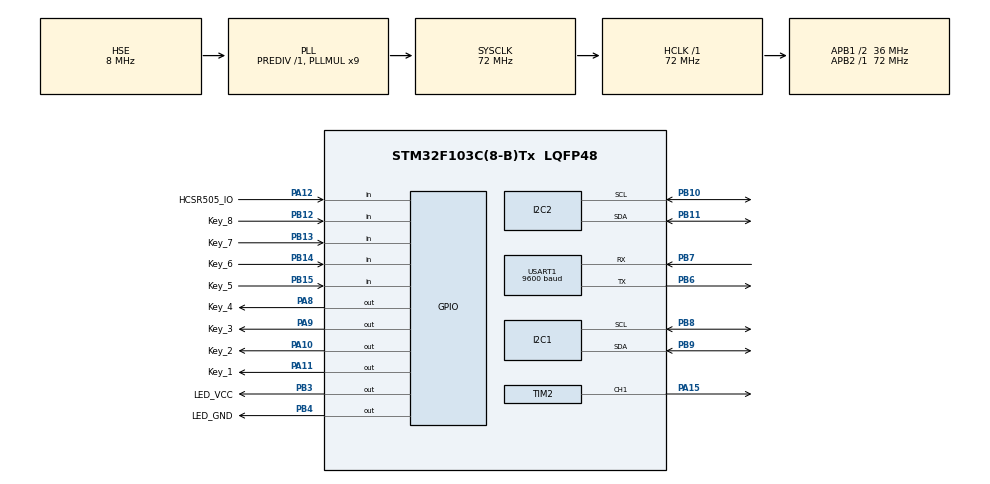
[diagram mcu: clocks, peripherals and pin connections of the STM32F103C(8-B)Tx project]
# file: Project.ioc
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Dma.Request0=USART1_RX
Dma.Request1=USART1_TX
Dma.USART1_RX.0.Direction=DMA_PERIPH_TO_MEMORY
Dma.USART1_RX.0.Instance=DMA1_Channel5
Dma.USART1_RX.0.MemDataAlignment=DMA_MDATAALIGN_BYTE
Dma.USART1_RX.0.MemInc=DMA_MINC_ENABLE
Dma.USART1_RX.0.Mode=DMA_NORMAL
Dma.USART1_RX.0.PeriphDataAlignment=DMA_PDATAALIGN_BYTE
Dma.USART1_RX.0.PeriphInc=DMA_PINC_DISABLE
Dma.USART1_RX.0.Priority=DMA_PRIORITY_LOW
Dma.USART1_TX.1.Direction=DMA_MEMORY_TO_PERIPH
Dma.USART1_TX.1.Instance=DMA1_Channel4
Dma.USART1_TX.1.MemDataAlignment=DMA_MDATAALIGN_BYTE
Dma.USART1_TX.1.MemInc=DMA_MINC_ENABLE
Dma.USART1_TX.1.Mode=DMA_NORMAL
Dma.USART1_TX.1.PeriphDataAlignment=DMA_PDATAALIGN_BYTE
Dma.USART1_TX.1.PeriphInc=DMA_PINC_DISABLE
Dma.USART1_TX.1.Priority=DMA_PRIORITY_LOW
Mcu.Family=STM32F1
Mcu.Name=STM32F103C(8-B)Tx
Mcu.Package=LQFP48
NVIC.DMA1_Channel4_IRQn=true\:0\:0\:false\:false\:true\:false\:true\:true
NVIC.DMA1_Channel5_IRQn=true\:0\:0\:false\:false\:true\:false\:true\:true
NVIC.PriorityGroup=NVIC_PRIORITYGROUP_4
PA10.GPIO_Label=Key_2
PA10.GPIO_PuPd=GPIO_PULLDOWN
PA10.GPIO_Speed=GPIO_SPEED_FREQ_HIGH
PA10.Signal=GPIO_Output
PA11.GPIO_Label=Key_1
PA11.GPIO_PuPd=GPIO_PULLDOWN
PA11.GPIO_Speed=GPIO_SPEED_FREQ_HIGH
PA11.Signal=GPIO_Output
PA12.GPIO_Label=HCSR505_IO
PA12.GPIO_PuPd=GPIO_PULLDOWN
PA12.Signal=GPIO_Input
PA13.Mode=Serial_Wire
PA13.Signal=SYS_JTMS-SWDIO
PA14.Mode=Serial_Wire
PA14.Signal=SYS_JTCK-SWCLK
PA15.Signal=S_TIM2_CH1_ETR
PA8.GPIO_Label=Key_4
PA8.GPIO_PuPd=GPIO_PULLDOWN
PA8.GPIO_Speed=GPIO_SPEED_FREQ_HIGH
PA8.Signal=GPIO_Output
PA9.GPIO_Label=Key_3
PA9.GPIO_PuPd=GPIO_PULLDOWN
PA9.GPIO_Speed=GPIO_SPEED_FREQ_HIGH
PA9.Signal=GPIO_Output
PB10.Mode=I2C
PB10.Signal=I2C2_SCL
PB11.Mode=I2C
PB11.Signal=I2C2_SDA
PB12.GPIO_Label=Key_8
PB12.GPIO_PuPd=GPIO_PULLUP
PB12.Signal=GPIO_Input
PB13.GPIO_Label=Key_7
PB13.GPIO_PuPd=GPIO_PULLUP
PB13.Signal=GPIO_Input
PB14.GPIO_Label=Key_6
PB14.GPIO_PuPd=GPIO_PULLUP
PB14.Signal=GPIO_Input
PB15.GPIO_Label=Key_5
PB15.GPIO_PuPd=GPIO_PULLUP
PB15.Signal=GPIO_Input
PB3.GPIO_Label=LED_VCC
PB3.GPIO_PuPd=GPIO_PULLUP
PB3.GPIO_Speed=GPIO_SPEED_FREQ_HIGH
PB3.PinState=GPIO_PIN_SET
PB3.Signal=GPIO_Output
PB4.GPIO_Label=LED_GND
PB4.GPIO_PuPd=GPIO_PULLDOWN
PB4.GPIO_Speed=GPIO_SPEED_FREQ_HIGH
PB4.Signal=GPIO_Output
PB6.Mode=Asynchronous
PB6.Signal=USART1_TX
PB7.Mode=Asynchronous
PB7.Signal=USART1_RX
PB8.Mode=I2C
PB8.Signal=I2C1_SCL
PB9.Mode=I2C
PB9.Signal=I2C1_SDA
PC14-OSC32_IN.Mode=LSE-External-Oscillator
PC14-OSC32_IN.Signal=RCC_OSC32_IN
PC15-OSC32_OUT.Mode=LSE-External-Oscillator
PC15-OSC32_OUT.Signal=RCC_OSC32_OUT
PD0-OSC_IN.Mode=HSE-External-Oscillator
PD0-OSC_IN.Signal=RCC_OSC_IN
PD1-OSC_OUT.Mode=HSE-External-Oscillator
PD1-OSC_OUT.Signal=RCC_OSC_OUT
ProjectManager.HeapSize=0x200
ProjectManager.StackSize=0x400
ProjectManager.TargetToolchain=MDK-ARM V5.32
RCC.ADCPresc=RCC_ADCPCLK2_DIV6
RCC.AHBFreq_Value=72000000
RCC.APB1CLKDivider=RCC_HCLK_DIV2
RCC.APB1Freq_Value=36000000
RCC.APB1TimFreq_Value=72000000
RCC.APB2Freq_Value=72000000
RCC.APB2TimFreq_Value=72000000
RCC.HCLKFreq_Value=72000000
RCC.PLLMUL=RCC_PLL_MUL9
RCC.PLLSourceVirtual=RCC_PLLSOURCE_HSE
RCC.SYSCLKFreq_VALUE=72000000
RCC.SYSCLKSource=RCC_SYSCLKSOURCE_PLLCLK
RCC.USBFreq_Value=72000000
SH.S_TIM2_CH1_ETR.0=TIM2_CH1,PWM Generation1 CH1
TIM1.Prescaler=71
TIM2.Channel-PWM\ Generation1\ CH1=TIM_CHANNEL_1
TIM2.Period=19999
TIM2.Prescaler=71
TIM2.Pulse-PWM\ Generation1\ CH1=0
USART1.BaudRate=9600
USART1.VirtualMode=VM_ASYNC
VP_TIM1_VS_ClockSourceINT.Mode=Internal
VP_TIM2_VS_ClockSourceINT.Mode=Internal
board=custom

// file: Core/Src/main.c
/* USER CODE BEGIN Header */
/**
 ******************************************************************************
 * @file           : main.c
 * @brief          : Main program body
 ******************************************************************************
 * @attention
 *
 * Copyright (c) 2023 STMicroelectronics.
 * All rights reserved.
 *
 * This software is licensed under terms that can be found in the LICENSE file
 * in the root directory of this software component.
 * If no LICENSE file comes with this software, it is provided AS-IS.
 *
 ******************************************************************************
 */
/* USER CODE END Header */
#include "main.h"
#include "dma.h"
#include "i2c.h"
#include "tim.h"
#include "usart.h"
#include "gpio.h"

/* USER CODE BEGIN Includes */
#include "oled.h"
#include "bh1750.h"
/* USER CODE END Includes */

/* USER CODE BEGIN PD */
#define PushdownKey_1 HAL_GPIO_ReadPin(Key_5_GPIO_Port, Key_5_Pin) == GPIO_PIN_RESET
#define PushdownKey_2 HAL_GPIO_ReadPin(Key_6_GPIO_Port, Key_6_Pin) == GPIO_PIN_RESET
#define PushdownKey_3 HAL_GPIO_ReadPin(Key_7_GPIO_Port, Key_7_Pin) == GPIO_PIN_RESET
#define PushdownKey_4 HAL_GPIO_ReadPin(Key_8_GPIO_Port, Key_8_Pin) == GPIO_PIN_RESET
/* USER CODE END PD */

void SystemClock_Config(void);

int main(void)
{
  /* USER CODE BEGIN 1 */
  uint8_t x = 0;
  uint8_t y = 0;
  uint8_t i = 0;
  uint8_t j = 0;
  uint8_t dataValue[2] = {0};
  float luxValue = 0;
  uint16_t pwmDuty = 0;
  uint8_t rxBuffer[1] = {0};
  uint8_t charCmd = '0';
  /* USER CODE END 1 */

  /* MCU Configuration--------------------------------------------------------*/

  /* Reset of all peripherals, Initializes the Flash interface and the Systick. */
  HAL_Init();

  /* Configure the system clock */
  SystemClock_Config();

  /* Initialize all configured peripherals */
  MX_GPIO_Init();
  MX_DMA_Init();
  MX_I2C1_Init();
  MX_TIM1_Init();
  MX_USART1_UART_Init();
  MX_TIM2_Init();
  MX_I2C2_Init();
  /* USER CODE BEGIN 2 */
  OLED_Init();
  OLED_Clear();
  OLED_ShowChinese(x + 24 + 16 * 0, y + 2 * 0, 0);
  OLED_ShowChinese(x + 24 + 16 * 1, y + 2 * 0, 1);
  OLED_ShowChinese(x + 24 + 16 * 2, y + 2 * 0, 2);
  OLED_ShowChinese(x + 24 + 16 * 3, y + 2 * 0, 3);
  OLED_ShowChinese(x + 24 + 16 * 4, y + 2 * 0, 4);
  OLED_ShowChinese(x + 16 * 0, y + 2 * 2, 5);
  OLED_ShowChinese(x + 16 * 1, y + 2 * 2, 6);
  OLED_ShowChar(x + 16 * 2, y + 2 * 2, ':', 16);
  OLED_ShowChinese(x + 16 * 0, y + 2 * 3, 11);
  OLED_ShowChinese(x + 16 * 1, y + 2 * 3, 12);
  OLED_ShowChinese(x + 16 * 2, y + 2 * 3, 13);
  OLED_ShowChar(x + 16 * 3, y + 2 * 3, ':', 16);
  HAL_TIM_PWM_Start(&htim2, TIM_CHANNEL_1);
  /* USER CODE END 2 */

  /* Infinite loop */
  /* USER CODE BEGIN WHILE */
  while (1)
  {
    HAL_UART_Receive_DMA(&huart1, rxBuffer, 1);
    charCmd = rxBuffer[0];

    if (PushdownKey_1)
    {
      HAL_Delay(50);
      i += 1;
    }

    switch (i % 3)
    {
    case 0:
      OLED_ShowChinese(x + 16 * 3, y + 2 * 2, 7);
      OLED_ShowChinese(x + 16 * 4, y + 2 * 2, 8);
      if (luxValue >= 0 && luxValue <= 2500)
      {
        __HAL_TIM_SET_COMPARE(&htim2, TIM_CHANNEL_1, luxValue);
      }
      else
      {
        ;
      }
      break;
    case 1:
      OLED_ShowChinese(x + 16 * 3, y + 2 * 2, 9);
      OLED_ShowChinese(x + 16 * 4, y + 2 * 2, 10);
      if (PushdownKey_2)
      {
        HAL_Delay(50);
        if (pwmDuty >= 0 && pwmDuty <= 2500)
        {
          pwmDuty += 500;
        }
        else
        {
          ;
        }
      }
      else if (PushdownKey_3)
      {
        HAL_Delay(50);
        if (pwmDuty >= 0 && pwmDuty <= 2500)
        {
          pwmDuty -= 500;
        }
        else
        {
          ;
        }
      }
      __HAL_TIM_SET_COMPARE(&htim2, TIM_CHANNEL_1, pwmDuty);
      switch (charCmd)
      {
      case '0':
        __HAL_TIM_SET_COMPARE(&htim2, TIM_CHANNEL_1, 0);
        break;
      case '1':
        __HAL_TIM_SET_COMPARE(&htim2, TIM_CHANNEL_1, 2500);
        break;
      case '2':
        if (pwmDuty >= 0 && pwmDuty <= 2500)
        {
          pwmDuty += 500;
        }
        else
        {
          ;
        }
        __HAL_TIM_SET_COMPARE(&htim2, TIM_CHANNEL_1, pwmDuty);
        break;
      case '3':
        if (pwmDuty >= 0 && pwmDuty <= 2500)
        {
          pwmDuty -= 500;
        }
        else
        {
          ;
        }
        __HAL_TIM_SET_COMPARE(&htim2, TIM_CHANNEL_1, pwmDuty);
        break;
      default:;
        break;
      }
      break;
    case 2:
      OLED_ShowChinese(x + 16 * 3, y + 2 * 2, 14);
      OLED_ShowChinese(x + 16 * 4, y + 2 * 2, 15);
      if (HAL_GPIO_ReadPin(HCSR505_IO_GPIO_Port, HCSR505_IO_Pin) == GPIO_PIN_SET)
      {
        __HAL_TIM_SET_COMPARE(&htim2, TIM_CHANNEL_1, 2500);
      }
      else
      {
        __HAL_TIM_SET_COMPARE(&htim2, TIM_CHANNEL_1, 0);
      }
      break;
    default:
      OLED_ShowChinese(x + 16 * 3, y + 2 * 2, 7);
      OLED_ShowChinese(x + 16 * 4, y + 2 * 2, 8);
      break;
    }

    if (BH1750_SendCmd(ONCE_H_MODE) == HAL_OK)
    {
      ;
    }
    HAL_Delay(200);
    if (BH1750_ReadData(dataValue) == HAL_OK)
    {
      luxValue = BH1750_GetLux(dataValue);
    }
    OLED_ShowNum(x + 16 * 4, y + 2 * 3, luxValue, 4, 16);
    OLED_ShowChar(x + 16 * 6 + 8 * 1, y + 2 * 3, 'L', 16);
    OLED_ShowChar(x + 16 * 6 + 8 * 2, y + 2 * 3, 'u', 16);
    OLED_ShowChar(x + 16 * 6 + 8 * 3, y + 2 * 3, 'x', 16);

    HAL_Delay(1000);
    /* USER CODE END WHILE */

  }
}

void SystemClock_Config(void)
{
  RCC_OscInitTypeDef RCC_OscInitStruct = {0};
  RCC_ClkInitTypeDef RCC_ClkInitStruct = {0};

  /** Initializes the RCC Oscillators according to the specified parameters
   * in the RCC_OscInitTypeDef structure.
   */
  RCC_OscInitStruct.OscillatorType = RCC_OSCILLATORTYPE_HSE;
  RCC_OscInitStruct.HSEState = RCC_HSE_ON;
  RCC_OscInitStruct.HSEPredivValue = RCC_HSE_PREDIV_DIV1;
  RCC_OscInitStruct.HSIState = RCC_HSI_ON;
  RCC_OscInitStruct.PLL.PLLState = RCC_PLL_ON;
  RCC_OscInitStruct.PLL.PLLSource = RCC_PLLSOURCE_HSE;
  RCC_OscInitStruct.PLL.PLLMUL = RCC_PLL_MUL9;
  if (HAL_RCC_OscConfig(&RCC_OscInitStruct) != HAL_OK)
  {
    Error_Handler();
  }

  /** Initializes the CPU, AHB and APB buses clocks
   */
  RCC_ClkInitStruct.ClockType = RCC_CLOCKTYPE_HCLK | RCC_CLOCKTYPE_SYSCLK | RCC_CLOCKTYPE_PCLK1 | RCC_CLOCKTYPE_PCLK2;
  RCC_ClkInitStruct.SYSCLKSource = RCC_SYSCLKSOURCE_PLLCLK;
  RCC_ClkInitStruct.AHBCLKDivider = RCC_SYSCLK_DIV1;
  RCC_ClkInitStruct.APB1CLKDivider = RCC_HCLK_DIV2;
  RCC_ClkInitStruct.APB2CLKDivider = RCC_HCLK_DIV1;

  if (HAL_RCC_ClockConfig(&RCC_ClkInitStruct, FLASH_LATENCY_2) != HAL_OK)
  {
    Error_Handler();
  }
}

void Error_Handler(void)
{
  __disable_irq();
  while (1)
  {
  }
}
